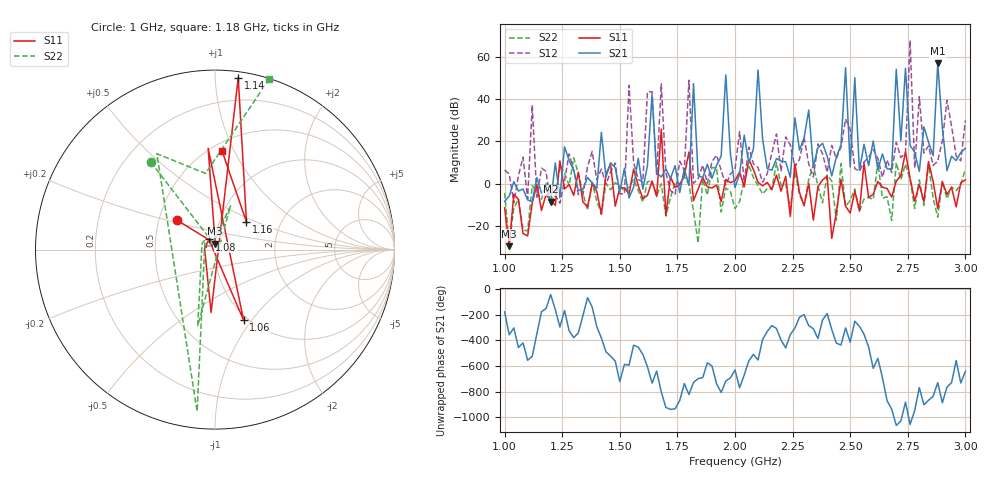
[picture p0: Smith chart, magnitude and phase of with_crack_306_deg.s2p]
# MHz S MA R 50
!  freq  S11  S21  S12  S22
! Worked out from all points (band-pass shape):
!   101 points, 1 GHz to 3 GHz, reference 50 ohm
!   highest |S21| = 56.88 dB at 2.88 GHz (marker M1); lowest = -8.5 dB at 1.2 GHz (marker M2)
!   |S21| within 3 dB of the highest: 2.479521 GHz to 2.480373 GHz (852.1 kHz wide, 0.0344 % of centre); 2.699951 GHz to 2.700069 GHz (118.1 kHz wide, 0.00437 % of centre) (the widest 2 of 4)
!   lowest |S11| = -29.5 dB at 1.02 GHz (marker M3), VSWR 1.07, Z = 50 + j3.34 ohm
!   |S11| at or under -10 dB: start of sweep to 1.036 GHz; 1.063 GHz to 1.119 GHz (55.67 MHz wide, 5.1 % of centre); 2.409 GHz to 2.445 GHz (35.38 MHz wide, 1.46 % of centre) (the widest 3 of 16)
!   |S22| runs from -28.3 to 12.2 dB; largest |S21 - S12| = 2.4e+03
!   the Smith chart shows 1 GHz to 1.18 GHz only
!   S11 on the Smith chart (normalised r, x): 1 GHz: 0.62, +0.22; 1.06 GHz: 0.95, -0.91; 1.08 GHz: 0.93, +0.11; 1.14 GHz: 0.04, +1.14; 1.16 GHz: 1.34, +0.44; 1.18 GHz: 0.57, +0.90
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1000  0.2696 142.3  0.3807 -178.3  2.103 7.2  0.6052 126.3
1020  0.03343 88.3  0.5122 2.9  1.698 177.0  0.03839 105.5
1060  0.4248 -68.0  0.6692 -96.7  1.531 -88.0  0.4342 -102.8
1080  0.06611 120.8  0.7482 -61.0  4.247 -58.4  0.08002 154.7
1140  0.9659 82.3  1.39 9.7  0.4808 95.9  0.6245 121.2
1160  0.2338 41.4  0.5987 -177.3  2.329 -152.8  0.4277 97.1
1180  0.5529 86.0  0.758 -153.1  1.948 -22.7  1 72.3
1200  0.4057 128.4  0.3765 -43.8  0.3168 -81.7  0.4829 -127.5
1340  0.3701 86.6  0.734 152.6  0.5348 -34.9  0.6115 121.3
1680  19.49 -175.6  1.442 -83.0  226.6 104.8  0.9984 91.3
2000  1.177 -164.6  0.8095 88.1  2.19 56.4  0.2589 -74.0
2100  1.078 77.6  481.2 165.9  2.392 -155.6  0.9141 63.9
2340  0.1381 137.9  2.498 50.4  1.428 66.2  2.719 -6.3
2680  0.4835 35.5  2.198 143.7  1.847 -177.9  0.1348 -158.3
2700  1.149 85.7  500.9 15.6  9.448 -24.6  3.153 100.7
2740  5.66 50.8  530.1 -162.5  5.319 59.1  2.9 67.5
2760  1.338 169.9  8.06 23.9  2415 26.4  1.228 176.6
2780  0.3915 111.3  5.477 132.4  2.353 -20.5  0.2582 127.4
2860  1.119 141.9  4.575 -117.0  2.69 -138.5  0.4568 122.1
2880  0.2588 59.2  698.1 -10.8  3.401 79.5  0.162 3.4
2900  1.113 59.0  21.04 -167.4  10.42 -129.1  1.13 59.1
3000  1.228 -83.5  6.84 77.3  31.18 -105.3  2.227 -69.1
